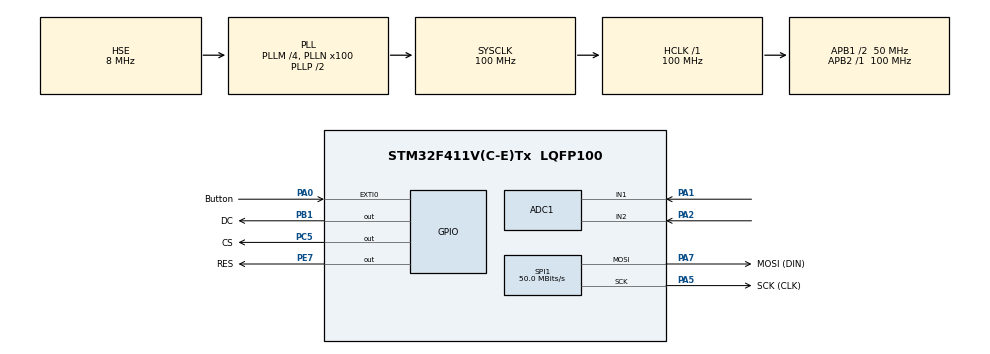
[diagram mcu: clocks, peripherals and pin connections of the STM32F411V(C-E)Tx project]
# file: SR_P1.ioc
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ADC1.Channel-0\#ChannelRegularConversion=ADC_CHANNEL_1
ADC1.Channel-1\#ChannelRegularConversion=ADC_CHANNEL_2
ADC1.ClockPrescaler=ADC_CLOCK_SYNC_PCLK_DIV8
ADC1.ContinuousConvMode=ENABLE
ADC1.DMAContinuousRequests=ENABLE
ADC1.EnableAnalogWatchDog=false
ADC1.NbrOfConversion=2
ADC1.NbrOfConversionFlag=1
ADC1.Rank-0\#ChannelRegularConversion=1
ADC1.Rank-1\#ChannelRegularConversion=2
ADC1.SamplingTime-0\#ChannelRegularConversion=ADC_SAMPLETIME_480CYCLES
ADC1.SamplingTime-1\#ChannelRegularConversion=ADC_SAMPLETIME_480CYCLES
ADC1.ScanConvMode=ENABLE
ADC1.master=1
Dma.ADC1.0.Direction=DMA_PERIPH_TO_MEMORY
Dma.ADC1.0.FIFOMode=DMA_FIFOMODE_DISABLE
Dma.ADC1.0.Instance=DMA2_Stream0
Dma.ADC1.0.MemDataAlignment=DMA_MDATAALIGN_HALFWORD
Dma.ADC1.0.MemInc=DMA_MINC_ENABLE
Dma.ADC1.0.Mode=DMA_CIRCULAR
Dma.ADC1.0.PeriphDataAlignment=DMA_PDATAALIGN_HALFWORD
Dma.ADC1.0.PeriphInc=DMA_PINC_DISABLE
Dma.ADC1.0.Priority=DMA_PRIORITY_LOW
Dma.Request0=ADC1
Mcu.Family=STM32F4
Mcu.Name=STM32F411V(C-E)Tx
Mcu.Package=LQFP100
Mcu.UserConstants=TIM10_PRESCALER,9999;TIM10_PERIOD,1999
NVIC.DMA2_Stream0_IRQn=true\:0\:0\:false\:false\:true\:false\:true
NVIC.EXTI0_IRQn=true\:0\:0\:false\:false\:true\:true\:true
NVIC.PriorityGroup=NVIC_PRIORITYGROUP_4
NVIC.TIM1_UP_TIM10_IRQn=true\:0\:0\:false\:false\:true\:true\:true
PA0-WKUP.GPIO_Label=Button
PA0-WKUP.Signal=GPXTI0
PA1.Signal=ADCx_IN1
PA2.Signal=ADCx_IN2
PA5.GPIO_Label=SCK (CLK)
PA5.Mode=TX_Only_Simplex_Unidirect_Master
PA5.Signal=SPI1_SCK
PA7.GPIO_Label=MOSI (DIN)
PA7.Mode=TX_Only_Simplex_Unidirect_Master
PA7.Signal=SPI1_MOSI
PB1.GPIO_Label=DC
PB1.Signal=GPIO_Output
PC5.GPIO_Label=CS
PC5.Signal=GPIO_Output
PE7.GPIO_Label=RES
PE7.Signal=GPIO_Output
PH0\ -\ OSC_IN.Mode=HSE-External-Oscillator
PH0\ -\ OSC_IN.Signal=RCC_OSC_IN
PH1\ -\ OSC_OUT.Mode=HSE-External-Oscillator
PH1\ -\ OSC_OUT.Signal=RCC_OSC_OUT
ProjectManager.HeapSize=0x200
ProjectManager.StackSize=0x400
ProjectManager.TargetToolchain=STM32CubeIDE
RCC.48MHZClocksFreq_Value=50000000
RCC.AHBFreq_Value=100000000
RCC.APB1CLKDivider=RCC_HCLK_DIV2
RCC.APB1Freq_Value=50000000
RCC.APB1TimFreq_Value=100000000
RCC.APB2Freq_Value=100000000
RCC.APB2TimFreq_Value=100000000
RCC.CortexFreq_Value=100000000
RCC.HCLKFreq_Value=100000000
RCC.HSE_VALUE=8000000
RCC.HSI_VALUE=16000000
RCC.LSE_VALUE=32768
RCC.PLLM=4
RCC.PLLN=100
RCC.PLLSourceVirtual=RCC_PLLSOURCE_HSE
RCC.SYSCLKFreq_VALUE=100000000
RCC.SYSCLKSource=RCC_SYSCLKSOURCE_PLLCLK
RCC.VCOOutputFreq_Value=200000000
SH.ADCx_IN1.0=ADC1_IN1,IN1
SH.ADCx_IN2.0=ADC1_IN2,IN2
SPI1.CLKPhase=SPI_PHASE_2EDGE
SPI1.CLKPolarity=SPI_POLARITY_HIGH
SPI1.CalculateBaudRate=50.0 MBits/s
SPI1.Direction=SPI_DIRECTION_2LINES
SPI1.Mode=SPI_MODE_MASTER
SPI1.VirtualType=VM_MASTER
TIM10.Period=TIM10_PERIOD
TIM10.Prescaler=TIM10_PRESCALER
VP_TIM10_VS_ClockSourceINT.Mode=Enable_Timer
board=custom

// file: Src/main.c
/* USER CODE BEGIN Header */
/**
  ******************************************************************************
  * @file           : main.c
  * @brief          : Main program body
  ******************************************************************************
  * @attention
  *
  * <h2><center>&copy; Copyright (c) 2020 STMicroelectronics.
  * All rights reserved.</center></h2>
  *
  * This software component is licensed by ST under BSD 3-Clause license,
  * the "License"; You may not use this file except in compliance with the
  * License. You may obtain a copy of the License at:
  *                        opensource.org/licenses/BSD-3-Clause
  *
  ******************************************************************************
  */

/* USER CODE END Header */

#include "main.h"
#include "adc.h"
#include "dma.h"
#include "spi.h"
#include "tim.h"
#include "gpio.h"

/* USER CODE BEGIN Includes */
#include "SSD1331.h" //biblioteka do wyswietlacza OLED
#include <stdio.h>
#include <stdlib.h>
#include "snake.h"
/* USER CODE END Includes */

/* USER CODE BEGIN PV */
uint16_t Joystick[2];//Joystick[0]->Os Y, Joystick[1]->Os X
const uint16_t Thresholdup = 4000;//Gorny prog przetwornika
const uint8_t Thresholddown = 100;//Dolny prog przetwornika
volatile int flag; //Domyslnie na 0 ustawiona
uint8_t dir_flag = none; //zmienna przechowujaca kierunek poruszania
// uint8_t dir_flag; //zmienna przechowujaca kierunek
/* USER CODE END PV */

void SystemClock_Config(void);
/* USER CODE BEGIN PFP */
void initPlay(void)
{		ssd1331_init();
    	ssd1331_clear_screen(GREEN_BACKGROUND);
    	ssd1331_display_string(20, 0, (const uint8_t*)"Sssnake", FONT_1608, GREEN);
    	ssd1331_draw_circle(37,23,SNAKE_RAD, GREEN_SNAKE);
    	ssd1331_draw_circle(41,23,SNAKE_RAD, GREEN_SNAKE);
    	ssd1331_draw_circle(45,23,SNAKE_RAD, GREEN_SNAKE);
    	ssd1331_draw_circle(49,23,SNAKE_RAD, GREEN_SNAKE);
    	ssd1331_draw_circle(53,23,SNAKE_RAD, GREEN_SNAKE);
    	ssd1331_draw_circle(57,23,SNAKE_RAD, GREEN_SNAKE);
    	ssd1331_draw_circle(57,27,SNAKE_RAD, GREEN_SNAKE);
    	ssd1331_draw_circle(57,31,SNAKE_RAD, GREEN_SNAKE);
    	ssd1331_draw_circle(57,35,SNAKE_RAD, GREEN_SNAKE);
    	ssd1331_draw_circle(53,35,SNAKE_RAD, GREEN_SNAKE);
    	ssd1331_draw_circle(49,35,SNAKE_RAD, YELLOW);
    	ssd1331_draw_circle(37,35,SNAKE_RAD, RED);
        ssd1331_display_string(20, 39, (const uint8_t*)"Click blue", FONT_1206, GREEN);
        ssd1331_display_string(5, 51, (const uint8_t*)"button to play", FONT_1206, GREEN);
}
//Funkcja sprawdza czy nastapila kolizja -> jesli tak wyswietla komunikat na ekranie i przerywa petle while
bool IsGameOver()
{
	//Sprawdza funkcje odpowiadajaca za kolizje weza, funkcja zwraca "true" jesli nastapilo zderzenie weza
	if(checkCollision()){
		ssd1331_clear_screen(GREEN_BACKGROUND);
		ssd1331_display_string(20, 10, (const uint8_t*)"GAME OVER!", FONT_1206, WHITE);
		ssd1331_display_string(5, 20, (const uint8_t*)"You received", FONT_1206, WHITE);
		ssd1331_display_string(30, 30, (const uint8_t*)"points!", FONT_1206, WHITE);
		int points=Points();
		ssd1331_display_num(70, 20, points, sizeof(int), FONT_1206, WHITE);

		return true;
	}
	else
		return false;
}
void HAL_GPIO_EXTI_Callback(uint16_t GPIO_Pin)
{
	if(GPIO_Pin == Button_Pin)
	{
		ssd1331_clear_screen(GREEN_BACKGROUND);
		initSnake();
		printf("START! \nMove joystick.\r\n");
	}
}

/* USER CODE END PFP */

/* USER CODE BEGIN 0 */
int _write(int file, char *ptr, int len)
{
	int i;
	for(i=0; i<len; i++)
	{
		ITM_SendChar(*ptr++);
	}
	return len;
}
//Callback do obslugi przerwania od timera10
void HAL_TIM_PeriodElapsedCallback(TIM_HandleTypeDef *htim){
	if(htim == &htim10){
		flag = 1;
	}
}
/* USER CODE END 0 */

int main(void)
{

  /* MCU Configuration--------------------------------------------------------*/

  /* Reset of all peripherals, Initializes the Flash interface and the Systick. */
  HAL_Init();

  /* Configure the system clock */
  SystemClock_Config();

  /* Initialize all configured peripherals */
  MX_GPIO_Init();
  MX_DMA_Init();
  MX_ADC1_Init();
  MX_SPI1_Init();
  MX_TIM10_Init();
  /* USER CODE BEGIN 2 */
  //Uruchomienie przetwornika w trybie DMA
  HAL_ADC_Start_DMA(&hadc1, (uint32_t*)Joystick, 2);//Rzutowanie na 32-bitowego inta, aby nie było warninga
  HAL_TIM_Base_Start_IT(&htim10);
  initPlay(); //Inicjalizacja ekranu startowego
  printf("Push blue button to start!. \r\n");
  //dir_flag = none;
  /* USER CODE END 2 */

  /* Infinite loop */
  /* USER CODE BEGIN WHILE */

 while (!IsGameOver())
 {
	  if(Joystick[0]>Thresholdup && dir_flag!=down){//Jesli joystick do gory i nie w dol
		  dir_flag=up;
	  }
	  else if(Joystick[0]<Thresholddown && dir_flag!=up){//Joystic wychylony w dol i nie w gore
		  dir_flag=down;
	  }
	  else if(Joystick[1]>Thresholdup && dir_flag!=left){//Joystic wychylony w prawo i nie w lewo
		  dir_flag=right;
	  }
	  else if(Joystick[1]<Thresholddown && dir_flag!=right){//Joystic wychylony w lewo i nie w prawo
		  dir_flag=left;
	  }
	  //Jesli timer sie przeterminowal (czestotliwosc 5HZ)
	  if(flag == 1){
		  flag=0;
		  if(dir_flag != none)
			  MoveSnake(dir_flag);
	  }

    /* USER CODE END WHILE */

    /* USER CODE BEGIN 3 */

  }
  printf("You've lost! GAME OVER!!!\r\n");
  /* USER CODE END 3 */
}

void SystemClock_Config(void)
{
  RCC_OscInitTypeDef RCC_OscInitStruct = {0};
  RCC_ClkInitTypeDef RCC_ClkInitStruct = {0};

  /** Configure the main internal regulator output voltage
  */
  __HAL_RCC_PWR_CLK_ENABLE();
  __HAL_PWR_VOLTAGESCALING_CONFIG(PWR_REGULATOR_VOLTAGE_SCALE1);
  /** Initializes the CPU, AHB and APB busses clocks
  */
  RCC_OscInitStruct.OscillatorType = RCC_OSCILLATORTYPE_HSE;
  RCC_OscInitStruct.HSEState = RCC_HSE_ON;
  RCC_OscInitStruct.PLL.PLLState = RCC_PLL_ON;
  RCC_OscInitStruct.PLL.PLLSource = RCC_PLLSOURCE_HSE;
  RCC_OscInitStruct.PLL.PLLM = 4;
  RCC_OscInitStruct.PLL.PLLN = 100;
  RCC_OscInitStruct.PLL.PLLP = RCC_PLLP_DIV2;
  RCC_OscInitStruct.PLL.PLLQ = 4;
  if (HAL_RCC_OscConfig(&RCC_OscInitStruct) != HAL_OK)
  {
    Error_Handler();
  }
  /** Initializes the CPU, AHB and APB busses clocks
  */
  RCC_ClkInitStruct.ClockType = RCC_CLOCKTYPE_HCLK|RCC_CLOCKTYPE_SYSCLK
                              |RCC_CLOCKTYPE_PCLK1|RCC_CLOCKTYPE_PCLK2;
  RCC_ClkInitStruct.SYSCLKSource = RCC_SYSCLKSOURCE_PLLCLK;
  RCC_ClkInitStruct.AHBCLKDivider = RCC_SYSCLK_DIV1;
  RCC_ClkInitStruct.APB1CLKDivider = RCC_HCLK_DIV2;
  RCC_ClkInitStruct.APB2CLKDivider = RCC_HCLK_DIV1;

  if (HAL_RCC_ClockConfig(&RCC_ClkInitStruct, FLASH_LATENCY_3) != HAL_OK)
  {
    Error_Handler();
  }
}

void Error_Handler(void)
{
}

/************************ (C) COPYRIGHT STMicroelectronics *****END OF FILE****/
